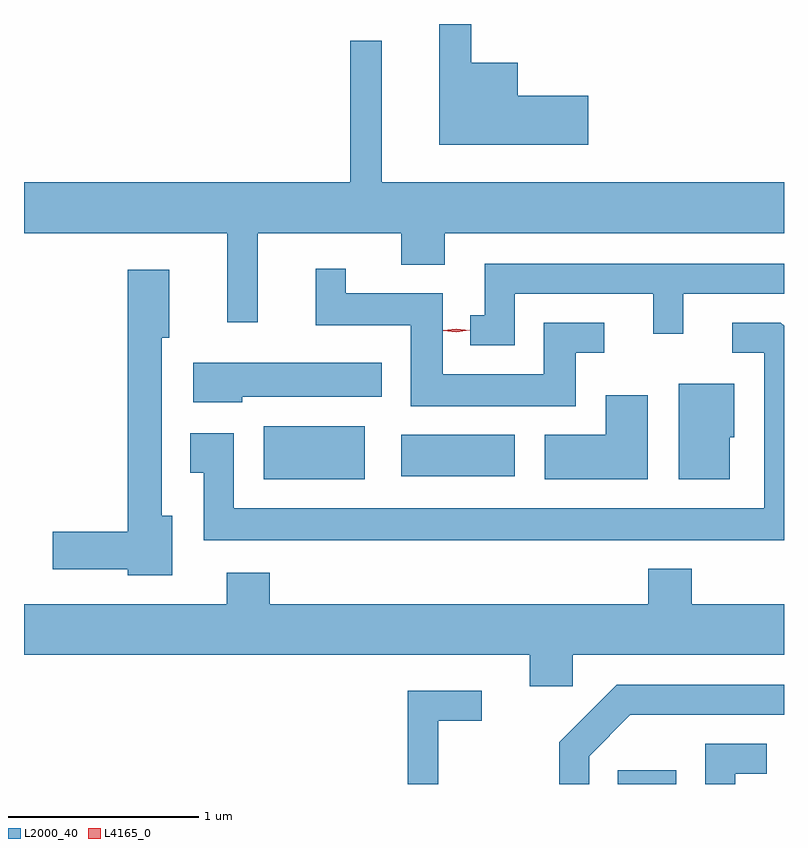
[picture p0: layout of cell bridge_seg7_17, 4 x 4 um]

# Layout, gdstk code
import gdstk
lib = gdstk.Library(unit=1e-6, precision=1e-09)
def R(c, l, rs):  # rectangles x0, y0, x1, y1
    for r in rs: c.add(gdstk.rectangle(r[:2], r[2:], *l))
def P(c, l, *ps):  # polygons
    for p in ps: c.add(gdstk.Polygon(p, *l))
L2000_40 = (2000, 40)
L4165_0 = (4165, 0)

bridge_seg7_17 = lib.new_cell('bridge_seg7_17')
R(bridge_seg7_17, L2000_40, [(1669.751,1751.377,1670.059,1751.449), (1667.886,1752.981,1668.419,1753.259), (1668.611,1752.996,1669.209,1753.214)])
P(bridge_seg7_17, L2000_40, [(1669.594,1754.999),(1669.224,1754.999),(1669.224,1755.174),(1668.979,1755.174),(1668.979,1755.377),(1668.811,1755.377),(1668.811,1754.741),(1669.594,1754.741)],
  [(1667.854,1754.276),(1668.611,1754.276),(1668.611,1754.111),(1668.839,1754.111),(1668.839,1754.276),(1670.625,1754.276),(1670.625,1754.544),(1668.509,1754.544),(1668.509,1755.288),(1668.341,1755.288),(1668.341,1754.544),(1666.625,1754.544),(1666.625,1754.276),(1667.696,1754.276),(1667.696,1753.808),(1667.854,1753.808)],
  [(1669.209,1753.956),(1669.936,1753.956),(1669.936,1753.748),(1670.094,1753.748),(1670.094,1753.956),(1670.625,1753.956),(1670.625,1754.114),(1669.051,1754.114),(1669.051,1753.844),(1668.973,1753.844),(1668.973,1753.686),(1669.209,1753.686)],
  [(1669.529,1753.646),(1669.678,1753.646),(1669.678,1753.804),(1669.361,1753.804),(1669.361,1753.534),(1668.829,1753.534),(1668.829,1753.959),(1668.319,1753.959),(1668.319,1754.088),(1668.161,1754.088),(1668.161,1753.791),(1668.661,1753.791),(1668.661,1753.366),(1669.529,1753.366)],
  [(1667.404,1752.789),(1667.349,1752.789),(1667.349,1753.726),(1667.389,1753.726),(1667.389,1754.084),(1667.171,1754.084),(1667.171,1752.704),(1666.776,1752.704),(1666.776,1752.506),(1667.171,1752.506),(1667.171,1752.476),(1667.404,1752.476)],
  [(1670.625,1753.788),(1670.609,1753.804),(1670.353,1753.804),(1670.353,1753.646),(1670.521,1753.646),(1670.521,1752.829),(1667.729,1752.829),(1667.729,1753.224),(1667.501,1753.224),(1667.501,1753.016),(1667.571,1753.016),(1667.571,1752.661),(1670.625,1752.661)],
  [(1667.774,1753.416),(1668.509,1753.416),(1668.509,1753.594),(1667.516,1753.594),(1667.516,1753.386),(1667.774,1753.386)],
  [(1670.339,1753.201),(1670.364,1753.201),(1670.364,1753.484),(1670.071,1753.484),(1670.071,1752.981),(1670.339,1752.981)],
  [(1669.909,1753.424),(1669.686,1753.424),(1669.686,1753.214),(1669.366,1753.214),(1669.366,1752.981),(1669.909,1752.981)],
  [(1669.911,1752.509),(1669.911,1752.324),(1667.919,1752.324),(1667.919,1752.489),(1667.691,1752.489),(1667.691,1752.324),(1666.625,1752.324),(1666.625,1752.056),(1669.286,1752.056),(1669.286,1751.891),(1669.514,1751.891),(1669.514,1752.056),(1670.625,1752.056),(1670.625,1752.324),(1670.139,1752.324),(1670.139,1752.509)],
  [(1669.599,1751.524),(1669.817,1751.741),(1670.625,1751.741),(1670.625,1751.899),(1669.744,1751.899),(1669.441,1751.597),(1669.441,1751.377),(1669.599,1751.377)],
  [(1668.804,1751.711),(1669.033,1751.711),(1669.033,1751.869),(1668.646,1751.869),(1668.646,1751.377),(1668.804,1751.377)],
  [(1670.369,1751.431),(1670.533,1751.431),(1670.533,1751.589),(1670.211,1751.589),(1670.211,1751.377),(1670.369,1751.377)])
P(bridge_seg7_17, L4165_0, [(1668.901,1753.754),(1668.832,1753.763),(1668.832,1753.764),(1668.832,1753.764),(1668.901,1753.774),(1668.971,1753.765),(1668.971,1753.765),(1668.971,1753.764)])

lib.write_gds('bridge_seg7_17.gds')
